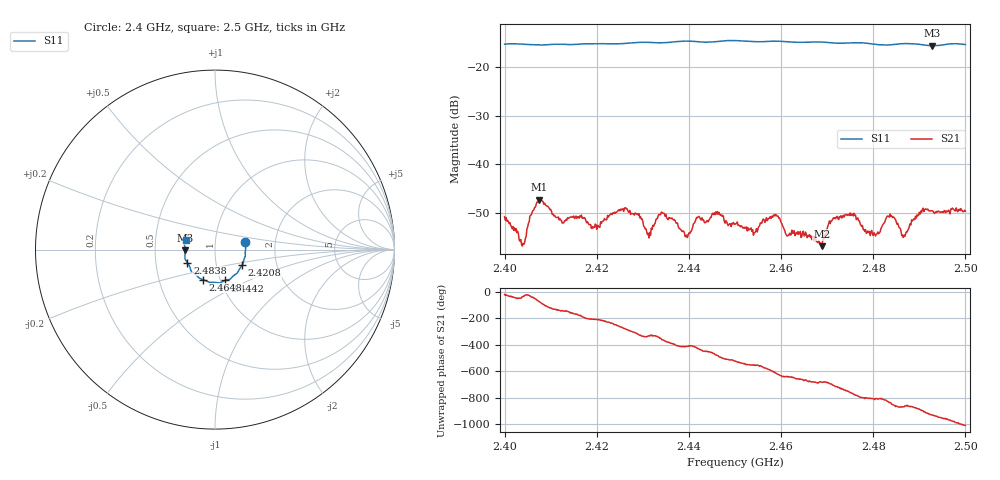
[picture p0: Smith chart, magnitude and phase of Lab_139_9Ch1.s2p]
# Hz S RI R 50
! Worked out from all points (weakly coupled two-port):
!   601 points, 2.4 GHz to 2.5 GHz, reference 50 ohm
!   highest |S21| = -47.27 dB at 2.4075 GHz (marker M1); lowest = -56.9 dB at 2.4688 GHz (marker M2)
!   lowest |S11| = -15.6 dB at 2.4928 GHz (marker M3), VSWR 1.40, Z = 35.7 - j0.365 ohm
!   |S11| at or under -10 dB: start of sweep to end of sweep
!   S12 and S22 are empty: the file has one direction only
!   S11 on the Smith chart (normalised r, x): 2.4 GHz: 1.40, +0.12; 2.4208 GHz: 1.33, -0.24; 2.4442 GHz: 1.05, -0.37; 2.4648 GHz: 0.83, -0.29; 2.4838 GHz: 0.73, -0.11; 2.5 GHz: 0.72, +0.08
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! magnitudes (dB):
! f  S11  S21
! 2.4 GHz  -15.3  -50.8
! 2.404 GHz  -15.3  -56.3
! 2.4075 GHz  -15.4  -47.3
! 2.4167 GHz  -15.2  -50.5
! 2.4208 GHz  -15.2  -51.8
! 2.4262 GHz  -15.1  -48.9
! 2.4313 GHz  -14.9  -55.2
! 2.4333 GHz  -15.0  -50.6
! 2.4397 GHz  -14.6  -55.1
! 2.4442 GHz  -14.9  -51.9
! 2.45 GHz  -14.5  -52.3
! 2.4588 GHz  -14.7  -50.3
! 2.4648 GHz  -14.9  -53.8
! 2.4667 GHz  -14.8  -55.5
! 2.4688 GHz  -14.8  -56.9
! 2.4717 GHz  -15.0  -51.0
! 2.4803 GHz  -15.3  -54.4
! 2.4833 GHz  -15.4  -50.8
! 2.4838 GHz  -15.4  -50.7
! 2.4867 GHz  -15.2  -54.6
! 2.4928 GHz  -15.6  -49.6
! 2.5 GHz  -15.3  -49.6
